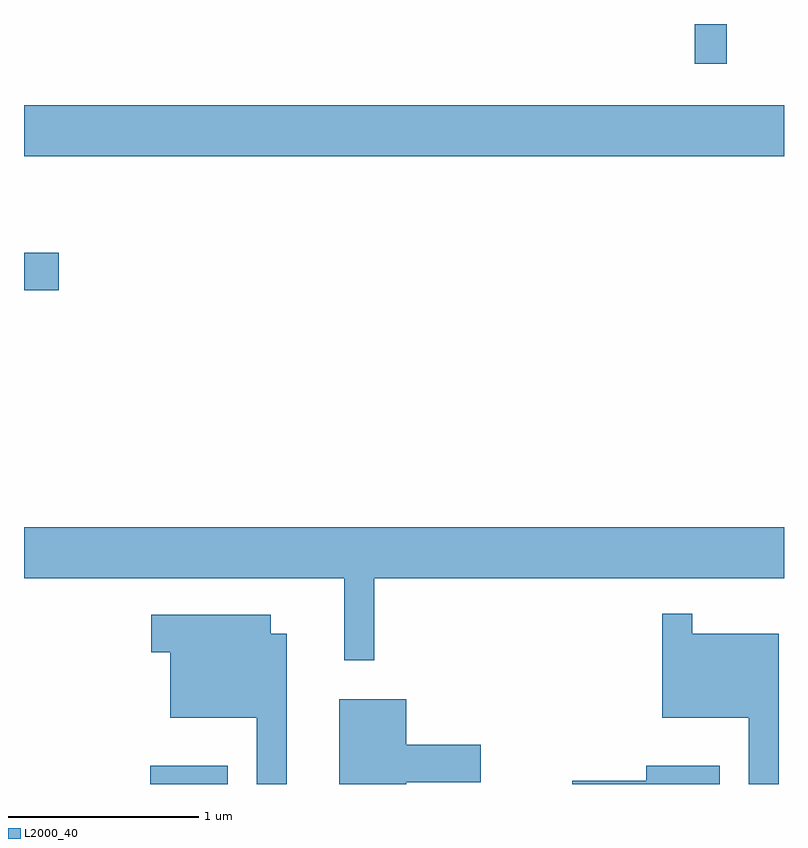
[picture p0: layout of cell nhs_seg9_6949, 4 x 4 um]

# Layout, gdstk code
import gdstk
lib = gdstk.Library(unit=1e-6, precision=1e-09)
def R(c, l, rs):  # rectangles x0, y0, x1, y1
    for r in rs: c.add(gdstk.rectangle(r[:2], r[2:], *l))
def P(c, l, *ps):  # polygons
    for p in ps: c.add(gdstk.Polygon(p, *l))
L2000_40 = (2000, 40)

nhs_seg9_6949 = lib.new_cell('nhs_seg9_6949')
R(nhs_seg9_6949, L2000_40, [(390.276,2068.432,390.684,2068.529), (389.611,2071.031,389.794,2071.229), (389.611,2071.736,393.611,2072.004), (393.141,2072.222,393.309,2072.432)])
P(nhs_seg9_6949, L2000_40, [(391.454,2069.516),(393.611,2069.516),(393.611,2069.784),(389.611,2069.784),(389.611,2069.516),(391.296,2069.516),(391.296,2069.083),(391.454,2069.083)],
  [(393.584,2069.224),(393.129,2069.224),(393.129,2069.327),(392.971,2069.327),(392.971,2068.781),(393.426,2068.781),(393.426,2068.432),(393.584,2068.432)],
  [(390.994,2069.224),(390.909,2069.224),(390.909,2069.324),(390.281,2069.324),(390.281,2069.126),(390.381,2069.126),(390.381,2068.781),(390.836,2068.781),(390.836,2068.432),(390.994,2068.432)],
  [(391.624,2068.441),(392.014,2068.441),(392.014,2068.639),(391.624,2068.639),(391.624,2068.879),(391.271,2068.879),(391.271,2068.432),(391.624,2068.432)],
  [(393.274,2068.529),(392.886,2068.529),(392.886,2068.449),(392.496,2068.449),(392.496,2068.432),(393.274,2068.432)])

lib.write_gds('nhs_seg9_6949.gds')
